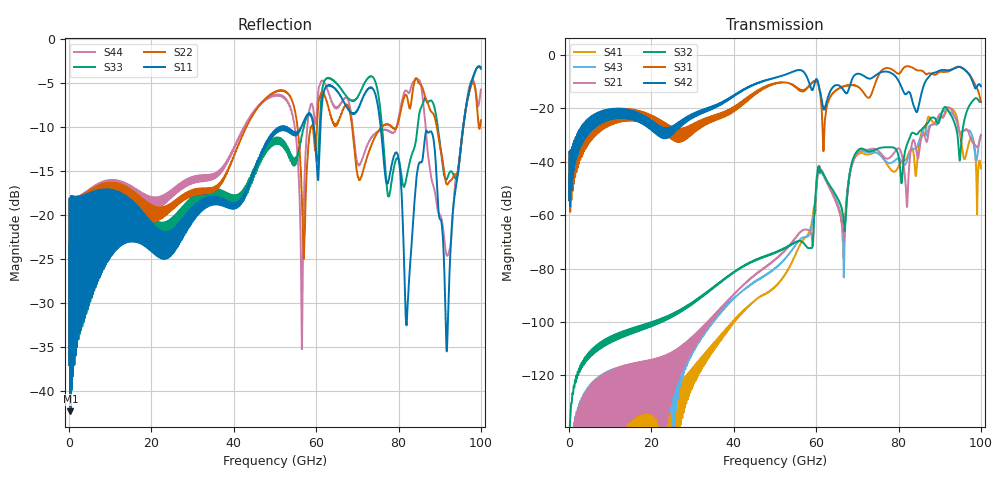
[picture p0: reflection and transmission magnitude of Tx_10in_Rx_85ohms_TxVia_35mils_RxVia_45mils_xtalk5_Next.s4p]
! Info: Touchstone file created by Circ.  Input file=Tx_10in_Rx_85ohms_TxVia_35mils_RxVia_45mils.circ
# Hz S RI R 50
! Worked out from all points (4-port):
!   10000 points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, 10 MHz to 100 GHz, reference 50 ohm
!   strongest paths, dB at 10 MHz, 25.01 GHz, 50.01 GHz, 75.01 GHz, 100 GHz:
!     S42: -54.3, -29.8, -8.5, -7.0, -11.7
!     S31: -54.4, -31.1, -10.6, -8.0, -17.3
!     S32: -162.2, -97.9, -74.2, -35.0, -17.6
!     S21: -175.5, -114.3, -76.7, -35.7, -29.9
!     S43: -175.5, -119.4, -80.0, -36.8, -30.4
!     S41: -180.8, -128.0, -86.7, -36.8, -42.5
!   lowest |S11| = -42.3 dB at 320 MHz (marker M1), VSWR 1.02, Z = 49.3 - j0.358 ohm
!   |S11| at or under -10 dB: start of sweep to 51.4 GHz; 52.7 GHz to 56.4 GHz (3.701 GHz wide, 6.79 % of centre); 75.66 GHz to 95.73 GHz (20.07 GHz wide, 23.4 % of centre)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
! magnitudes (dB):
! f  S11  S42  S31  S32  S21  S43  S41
! 10 MHz  -37.1  -54.3  -54.4  -162.2  -175.5  -175.5  -180.8
! 320 MHz  -42.3  -43.1  -43.1  -136.0  -150.0  -149.9  -156.3
! 58.6 GHz  -8.6  -11.9  -10.9  -72.2  -66.2  -66.2  -65.1
! 60.75 GHz  -13.5  -12.5  -12.4  -41.8  -41.7  -42.0  -42.0
! 66.62 GHz  -7.1  -13.2  -11.7  -61.4  -67.1  -74.1  -75.5
! 91.75 GHz  -35.4  -5.7  -6.3  -20.0  -19.8  -20.5  -20.6
! 100 GHz  -3.3  -11.7  -17.3  -17.6  -29.9  -30.4  -42.5
